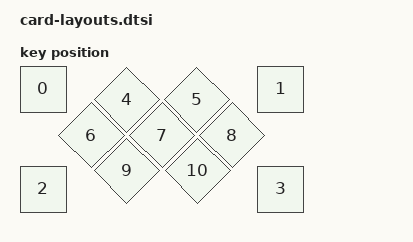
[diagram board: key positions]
#include <physical_layouts.dtsi>

/ {
    physical_layout0: physical_layout_0 {
        compatible = "zmk,physical-layout";
        display-name = "Tues Design CARD";

        kscan = <&kscan0>;
        transform = <&default_transform>;

        keys  //                     w   h    x    y     rot    rx    ry
            = <&key_physical_attrs 100 100    0    0       0     0     0>
            , <&key_physical_attrs 100 100  475    0       0     0     0>
            , <&key_physical_attrs 100 100    0  200       0     0     0>
            , <&key_physical_attrs 100 100  475  200       0     0     0>
            , <&key_physical_attrs 100 100  125   25    4500   200   125>
            , <&key_physical_attrs 100 100  275   50    4500   375   125>
            , <&key_physical_attrs 100 100  125  125    4500   200   125>
            , <&key_physical_attrs 100 100  225   25    4500   200   125>
            , <&key_physical_attrs 100 100  375   50    4500   375   125>
            , <&key_physical_attrs 100 100  225  125    4500   200   125>
            , <&key_physical_attrs 100 100  325   25    4500   200   125>
            ;
    };
};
